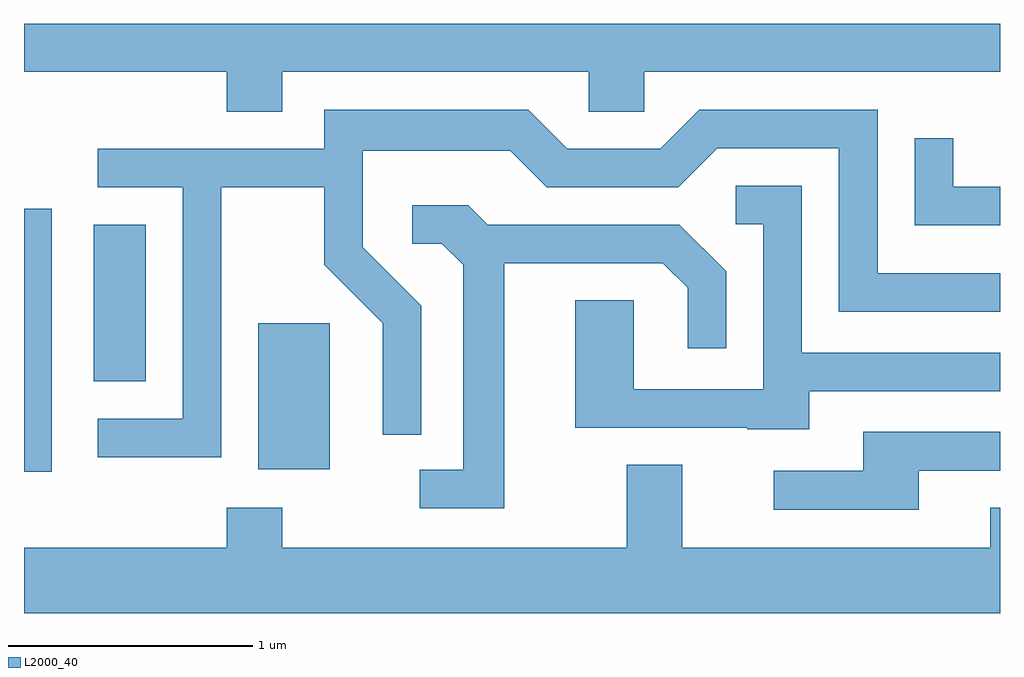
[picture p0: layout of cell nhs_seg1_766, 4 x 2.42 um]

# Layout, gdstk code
import gdstk
lib = gdstk.Library(unit=1e-6, precision=1e-09)
def R(c, l, rs):  # rectangles x0, y0, x1, y1
    for r in rs: c.add(gdstk.rectangle(r[:2], r[2:], *l))
def P(c, l, *ps):  # polygons
    for p in ps: c.add(gdstk.Polygon(p, *l))
L2000_40 = (2000, 40)

nhs_seg1_766 = lib.new_cell('nhs_seg1_766')
R(nhs_seg1_766, L2000_40, [(207.611,957.876,207.724,958.954), (208.571,957.886,208.864,958.484), (207.896,958.246,208.109,958.889)])
P(nhs_seg1_766, L2000_40, [(208.669,959.516),(209.926,959.516),(209.926,959.351),(210.154,959.351),(210.154,959.516),(211.611,959.516),(211.611,959.712),(207.611,959.712),(207.611,959.516),(208.441,959.516),(208.441,959.351),(208.669,959.351)],
  [(208.419,959.041),(208.841,959.041),(208.841,958.724),(209.081,958.484),(209.081,958.028),(209.239,958.028),(209.239,958.557),(208.999,958.797),(208.999,959.191),(209.604,959.191),(209.754,959.041),(210.292,959.041),(210.452,959.201),(210.951,959.201),(210.951,958.531),(211.611,958.531),(211.611,958.689),(211.109,958.689),(211.109,959.359),(210.379,959.359),(210.219,959.199),(209.837,959.199),(209.677,959.359),(208.841,959.359),(208.841,959.199),(207.913,959.199),(207.913,959.041),(208.261,959.041),(208.261,958.094),(207.913,958.094),(207.913,957.936),(208.419,957.936)],
  [(211.611,959.044),(211.419,959.044),(211.419,959.243),(211.261,959.243),(211.261,958.886),(211.611,958.886)],
  [(210.829,958.206),(211.611,958.206),(211.611,958.364),(210.799,958.364),(210.799,959.049),(210.528,959.049),(210.528,958.891),(210.641,958.891),(210.641,958.214),(210.109,958.214),(210.109,958.579),(209.871,958.579),(209.871,958.056),(210.575,958.056),(210.575,958.051),(210.829,958.051)],
  [(209.579,958.731),(210.229,958.731),(210.331,958.629),(210.331,958.383),(210.489,958.383),(210.489,958.697),(210.297,958.889),(209.512,958.889),(209.432,958.969),(209.203,958.969),(209.203,958.811),(209.324,958.811),(209.411,958.724),(209.411,957.884),(209.233,957.884),(209.233,957.726),(209.579,957.726)],
  [(211.279,957.881),(211.611,957.881),(211.611,958.039),(211.051,958.039),(211.051,957.879),(210.683,957.879),(210.683,957.721),(211.279,957.721)],
  [(211.611,957.729),(211.571,957.729),(211.571,957.564),(210.309,957.564),(210.309,957.904),(210.081,957.904),(210.081,957.564),(208.669,957.564),(208.669,957.729),(208.441,957.729),(208.441,957.564),(207.611,957.564),(207.611,957.296),(211.611,957.296)])

lib.write_gds('nhs_seg1_766.gds')
